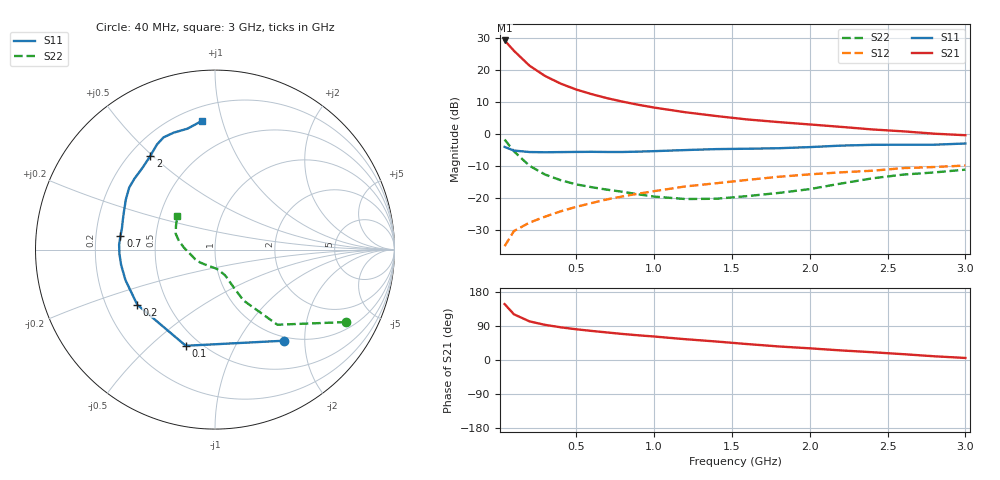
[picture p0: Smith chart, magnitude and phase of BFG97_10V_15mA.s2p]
! Filename:  BFG97E.S2P  Version:  2.0
! Philips part #: BFG97  Date: Jul 1990
! Bias condition: Vce=10V, Ic=15mA
#  MHz  S  MA  R  50
! Freq  S11  S21  S12  S22  !GUM [dB]
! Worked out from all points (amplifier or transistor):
!   21 points, 40 MHz to 3 GHz, reference 50 ohm
!   highest |S21| = 29.3 dB at 40 MHz (marker M1)
!   |S21| within 3 dB of that: start of sweep to 95.78 MHz
!   unconditionally stable (mu >= 1): 427.1 MHz to end of sweep
!   at 300 MHz: K = 0.89, MSG = 22.0 dB, |S12| = -25.7 dB
!   at 1 GHz: K = 1.15, MAG = 10.7 dB, |S12| = -17.7 dB
!   at 3 GHz: K = 1.05, MAG = 3.3 dB, |S12| = -9.7 dB
!   S11 on the Smith chart (normalised r, x): 40 MHz: 0.94, -1.60; 100 MHz: 0.42, -0.65; 200 MHz: 0.33, -0.29; 700 MHz: 0.31, +0.06; 2 GHz: 0.28, +0.49; 3 GHz: 0.29, +0.86
40  0.638 -52.7  29.33 147.6  0.018 68.5  0.833 -29.0
100  0.56 -106.9  20.23 120.6  0.031 53.4  0.544 -50.3
200  0.531 -144.7  11.84 101.9  0.042 52.1  0.324 -60.8
300  0.527 -161.3  8.17 92.7  0.052 54.8  0.236 -63.6
400  0.53 -170.8  6.218 86.3  0.063 57.9  0.193 -65.7
500  0.533 -177.5  5.026 81.1  0.074 59.5  0.166 -67.3
600  0.535 177.0  4.252 76.7  0.085 60.7  0.15 -69.4
700  0.532 171.9  3.674 72.6  0.097 62.1  0.137 -72.4
800  0.532 167.0  3.243 68.6  0.108 61.9  0.127 -75.5
900  0.539 162.4  2.901 65.1  0.119 62.0  0.116 -79.1
1000  0.548 158.1  2.629 62.0  0.13 61.8  0.107 -85.7
1200  0.57 150.6  2.222 54.9  0.154 60.8  0.098 -102.3
1400  0.59 144.1  1.937 48.8  0.173 58.7  0.099 -121.2
1600  0.598 138.7  1.712 42.0  0.195 58.1  0.109 -138.4
1800  0.609 131.5  1.559 35.8  0.218 54.4  0.122 -153.5
2000  0.634 124.7  1.432 30.8  0.238 53.5  0.14 -169.6
2200  0.669 118.9  1.313 25.3  0.256 50.8  0.171 177.2
2400  0.688 114.6  1.197 20.6  0.271 49.9  0.206 166.8
2600  0.691 109.5  1.118 15.4  0.298 46.6  0.236 158.0
2800  0.691 102.8  1.027 9.8  0.31 42.2  0.255 148.5
3000  0.722 95.6  0.972 5.4  0.327 40.6  0.282 137.9
